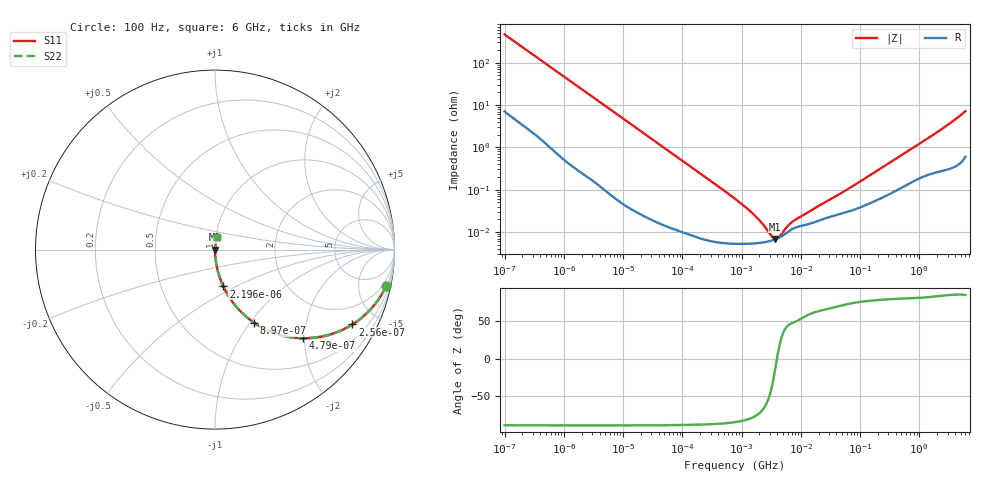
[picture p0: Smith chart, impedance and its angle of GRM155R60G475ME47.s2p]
!Murata Part Number: GRM155R60G475ME47
!These Parameters are Measured in Series Mode Connection
!Data Generated on Mar 30, 2021
!  o--ll--o
!Port1  Port2
!  o------o
!Operation Temp=25[degC], DC Bias Voltage=0[V]
!Freq. Start=100[Hz] Stop=6[GHz] 401[Steps]
# Hz S RI R 50
!Freq.(Hz) S11(Real) S11(Imag) S21(Real) S21(Imag) S12(Real) S12(Imag) S22(Real) S22(Imag)
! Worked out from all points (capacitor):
!   401 points, 100 Hz to 6 GHz, reference 50 ohm
!   read as one part in series: C = 3.43 uF near 109 Hz
!   lowest |Z| = 6.89 mohm at 3.712 MHz (marker M1)
!   series resonance near 3.957 MHz, so ESL is about 470 pH
!   S11 on the Smith chart (normalised r, x): 100 Hz: 1.14, -9.25; 256 Hz: 1.05, -3.64; 479 Hz: 1.03, -1.96; 897 Hz: 1.01, -1.05; 2.196 kHz: 1.00, -0.43; 6 GHz: 1.01, +0.14
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100  0.9525 -0.2052  0.0475 0.2052  0.0475 0.2052  0.9525 -0.2052
164  0.8861 -0.3105  0.1139 0.3105  0.1139 0.3105  0.8861 -0.3105
256  0.7653 -0.4167  0.2347 0.4167  0.2347 0.4167  0.7653 -0.4167
366  0.6187 -0.4789  0.3813 0.4789  0.3813 0.4789  0.6187 -0.4789
479  0.4897 -0.4934  0.5103 0.4934  0.5103 0.4934  0.4897 -0.4934
897  0.219 -0.4081  0.781 0.4081  0.781 0.4081  0.219 -0.4081
1283  0.1219 -0.322  0.8781 0.322  0.8781 0.322  0.1219 -0.322
2008  0.0548 -0.2224  0.9452 0.2224  0.9452 0.2224  0.0548 -0.2224
2196  0.0464 -0.2053  0.9536 0.2053  0.9536 0.2053  0.0464 -0.2053
7036  0.00522 -0.0675  0.9948 0.0675  0.9948 0.0675  0.00522 -0.0675
40335  0.000303 -0.0119  0.9997 0.0119  0.9997 0.0119  0.000303 -0.0119
774597  5.29e-05 -0.000607  0.9999 0.000607  0.9999 0.000607  5.29e-05 -0.000607
1585629  5.35e-05 -0.000258  0.9999 0.000258  0.9999 0.000258  5.35e-05 -0.000258
2837864  5.99e-05 -8.29e-05  0.9999 8.29e-05  0.9999 8.29e-05  5.99e-05 -8.29e-05
3712478  6.72e-05 -1.54e-05  0.9999 1.54e-05  0.9999 1.54e-05  6.72e-05 -1.54e-05
4856642  8.09e-05 4.87e-05  0.9999 -4.87e-05  0.9999 -4.87e-05  8.09e-05 4.87e-05
7599586  0.000122 0.000138  0.9999 -0.000138  0.9999 -0.000138  0.000122 0.000138
1.555665e7  0.000163 0.000293  0.9998 -0.000293  0.9998 -0.000293  0.000163 0.000293
5.960426e7  0.000296 0.000947  0.9997 -0.000947  0.9997 -0.000947  0.000296 0.000947
3.124326e8  0.000798 0.0042  0.9992 -0.0042  0.9992 -0.0042  0.000798 0.0042
1.95892e9  0.00304 0.0221  0.997 -0.0221  0.997 -0.0221  0.00304 0.0221
6e9  0.0109 0.0699  0.9891 -0.0699  0.9891 -0.0699  0.0109 0.0699
